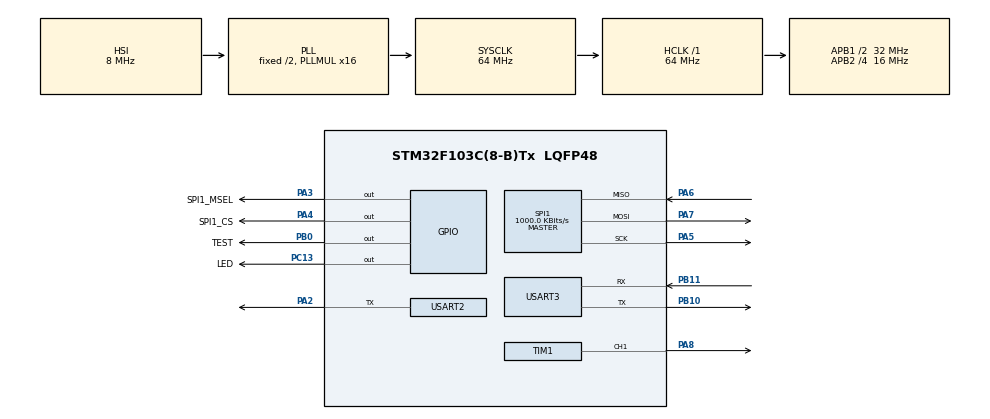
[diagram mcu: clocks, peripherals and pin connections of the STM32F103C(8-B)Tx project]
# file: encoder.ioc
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Mcu.Family=STM32F1
Mcu.Name=STM32F103C(8-B)Tx
Mcu.Package=LQFP48
NVIC.PriorityGroup=NVIC_PRIORITYGROUP_4
NVIC.RCC_IRQn=true\:0\:0\:false\:false\:true\:true\:false\:true
NVIC.TIM1_BRK_IRQn=true\:0\:0\:false\:false\:true\:true\:true\:true
NVIC.TIM1_CC_IRQn=true\:0\:0\:false\:false\:true\:true\:true\:true
NVIC.TIM1_TRG_COM_IRQn=true\:0\:0\:false\:false\:true\:true\:true\:true
NVIC.TIM1_UP_IRQn=true\:0\:0\:false\:false\:true\:true\:true\:true
PA13.Mode=Serial_Wire
PA13.Signal=SYS_JTMS-SWDIO
PA14.Mode=Serial_Wire
PA14.Signal=SYS_JTCK-SWCLK
PA2.Mode=Half_duplex(single_wire_mode)
PA2.Signal=USART2_TX
PA3.GPIO_Label=SPI1_MSEL
PA3.GPIO_PuPd=GPIO_PULLUP
PA3.Signal=GPIO_Output
PA4.GPIO_Label=SPI1_CS
PA4.Signal=GPIO_Output
PA5.Mode=Full_Duplex_Master
PA5.Signal=SPI1_SCK
PA6.Mode=Full_Duplex_Master
PA6.Signal=SPI1_MISO
PA7.Mode=Full_Duplex_Master
PA7.Signal=SPI1_MOSI
PA8.Signal=S_TIM1_CH1
PB0.GPIO_Label=TEST
PB0.Signal=GPIO_Output
PB10.Mode=Asynchronous
PB10.Signal=USART3_TX
PB11.Mode=Asynchronous
PB11.Signal=USART3_RX
PC13-TAMPER-RTC.GPIO_Label=LED
PC13-TAMPER-RTC.Signal=GPIO_Output
PD0-OSC_IN.Mode=HSE-External-Oscillator
PD0-OSC_IN.Signal=RCC_OSC_IN
PD1-OSC_OUT.Mode=HSE-External-Oscillator
PD1-OSC_OUT.Signal=RCC_OSC_OUT
ProjectManager.HeapSize=0x200
ProjectManager.StackSize=0x400
ProjectManager.TargetToolchain=STM32CubeIDE
RCC.AHBFreq_Value=64000000
RCC.APB1CLKDivider=RCC_HCLK_DIV2
RCC.APB1Freq_Value=32000000
RCC.APB1TimFreq_Value=64000000
RCC.APB2CLKDivider=RCC_HCLK_DIV4
RCC.APB2Freq_Value=16000000
RCC.APB2TimFreq_Value=32000000
RCC.HCLKFreq_Value=64000000
RCC.PLLMUL=RCC_PLL_MUL16
RCC.SYSCLKFreq_VALUE=64000000
RCC.SYSCLKSource=RCC_SYSCLKSOURCE_PLLCLK
RCC.USBFreq_Value=64000000
SH.S_TIM1_CH1.0=TIM1_CH1,PWM Generation1 CH1
SPI1.BaudRatePrescaler=SPI_BAUDRATEPRESCALER_16
SPI1.CLKPhase=SPI_PHASE_2EDGE
SPI1.CalculateBaudRate=1000.0 KBits/s
SPI1.Direction=SPI_DIRECTION_2LINES
SPI1.Mode=SPI_MODE_MASTER
SPI1.VirtualType=VM_MASTER
TIM1.Channel-PWM\ Generation1\ CH1=TIM_CHANNEL_1
TIM1.Period=20000-1
TIM1.Prescaler=83
USART2.BaudRate=921600
USART2.Mode=MODE_TX
USART2.VirtualMode=VM_ASYNC
USART3.VirtualMode=VM_ASYNC
board=custom

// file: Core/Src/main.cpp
/* USER CODE BEGIN Header */
/**
  ******************************************************************************
  * @file           : main.c
  * @brief          : Main program body
  ******************************************************************************
  * @attention
  *
  * Copyright (c) 2024 STMicroelectronics.
  * All rights reserved.
  *
  * This software is licensed under terms that can be found in the LICENSE file
  * in the root directory of this software component.
  * If no LICENSE file comes with this software, it is provided AS-IS.
  *
  ******************************************************************************
  */
/* USER CODE END Header */
#include "main.h"

/* USER CODE BEGIN PD */
uint8_t READ =0x40; // read flag in command
uint8_t WRITE=0x00; // write flag in command

/* USER CODE END PD */

SPI_HandleTypeDef hspi1;

TIM_HandleTypeDef htim1;

UART_HandleTypeDef huart2;
UART_HandleTypeDef huart3;

/* USER CODE BEGIN PV */

union Reg8Config {
	struct {
		uint8_t res :4;
		uint8_t dir :1;
		uint8_t hyst :3;
	};
	uint8_t bits;
};

Reg8Config reg8;

union Data16 {
	struct {
		uint8_t high;
		uint8_t low;
	};
	uint8_t bits;
};

union Data24 {
	struct {
		uint8_t high;
		uint8_t mid;
		uint8_t low;
	};
	uint8_t bits;
};

unsigned int error_flag = 0;
unsigned int error_parity = 0; // читання з пристрою пройшло з битою парністю
unsigned int error_reg = 0;

/* USER CODE END PV */

void SystemClock_Config(void);
static void MX_GPIO_Init(void);
static void MX_SPI1_Init(void);
static void MX_TIM1_Init(void);
static void MX_USART2_UART_Init(void);
static void MX_USART3_UART_Init(void);
/* USER CODE BEGIN PFP */

#define PUTCHAR_PROTOTYPE int __io_putchar(int ch)

/* USER CODE END PFP */

/* USER CODE BEGIN 0 */

unsigned int parity(unsigned int n) {
	unsigned int b;
	b = n ^ (n >> 1);
	b = b ^ (b >> 2);
	b = b ^ (b >> 4);
	b = b ^ (b >> 8);
	b = b ^ (b >> 16);
	return b & 1;
}

unsigned long int spi_transfer16(uint8_t reg, uint8_t RW) {
	uint8_t high = 0;
	uint8_t low = 0;
   	uint8_t header = parity(reg|RW)<<7 | RW; //  в контрольну суму повинно входити ВСЕ! окрім біта контрольної суми
    HAL_GPIO_WritePin(SPI1_CS_GPIO_Port, SPI1_CS_Pin, GPIO_PIN_RESET); // 1us
    HAL_SPI_TransmitReceive(&hspi1, &header, &high, 1, HAL_MAX_DELAY);
    HAL_SPI_TransmitReceive(&hspi1, &reg, &low, 1, HAL_MAX_DELAY);
    HAL_GPIO_WritePin(SPI1_CS_GPIO_Port, SPI1_CS_Pin, GPIO_PIN_SET);
    return (high&0xff)<<8 | (low&0xff);
}

// Глючить і косячить :(
unsigned long int spi_transfer16_2(uint8_t reg, uint8_t RW) {
	uint8_t txdata16[2];
	uint8_t rxdata16[2];
    txdata16[0] = parity(reg|RW)<<7 | RW; //  в контрольну суму повинно входити ВСЕ! окрім біта контрольної суми
    HAL_GPIO_WritePin(SPI1_CS_GPIO_Port, SPI1_CS_Pin, GPIO_PIN_RESET); // 1us
    HAL_SPI_TransmitReceive(&hspi1, txdata16, rxdata16, 2, HAL_MAX_DELAY);
    HAL_GPIO_WritePin(SPI1_CS_GPIO_Port, SPI1_CS_Pin, GPIO_PIN_SET);
    return (rxdata16[0]<<8) | rxdata16[1];
}

unsigned int spi_transfer24(uint8_t reg, uint8_t RW) {
	uint8_t high = 0;
	uint8_t mid  = 0;
	uint8_t low  = 0;
	uint8_t header = (parity(reg | RW) << 7) | RW;

	HAL_GPIO_WritePin(SPI1_CS_GPIO_Port, SPI1_CS_Pin, GPIO_PIN_RESET);
//	DWT_Delay_us(1);

	HAL_SPI_TransmitReceive(&hspi1, &header, &high, 1, HAL_MAX_DELAY);
	HAL_SPI_TransmitReceive(&hspi1, &reg, &mid, 1, HAL_MAX_DELAY);
	HAL_SPI_TransmitReceive(&hspi1, &header, &low, 1, HAL_MAX_DELAY);

//	DWT_Delay_us(1);

	HAL_GPIO_WritePin(SPI1_CS_GPIO_Port, SPI1_CS_Pin, GPIO_PIN_SET);
//	DWT_Delay_us(1);

	return (high&0xff)<<16 | (mid&0xff)<<8 | (low&0xff);
}

int setup_spi(){
	//HAL_SPI_Abort(&hspi1);
	HAL_GPIO_WritePin(SPI1_CS_GPIO_Port, SPI1_CS_Pin, GPIO_PIN_SET);
	HAL_GPIO_WritePin(SPI1_MSEL_GPIO_Port, SPI1_MSEL_Pin, GPIO_PIN_SET);

    return 0;
}

unsigned long int  spi_read(uint8_t reg) {
    unsigned int data = 0;
    unsigned long int raw_data = 0;

//    printf("SPI READ %d\n",reg);
//    HAL_HalfDuplex_EnableTransmitter(&huart2);

//    HAL_UART_Transmit(&huart2, (uint8_t *)&reg, 1, 0xFFFF);
//    HAL_UART_Transmit(&huart2, &reg, 1, 10);
    HAL_UART_Transmit(&huart3, &reg, 1, 10);

    spi_transfer16(reg,READ);

    if (reg != 0x3f) { // єдиний регістр, який потребує 24-бітне читання
        raw_data = spi_transfer16(0x3f,READ); // сире читання, тут дані + прапор помилок + парність
        error_flag = raw_data&0x4000?1:0; // зберігаємо біт прапору помилок глобально
        // підраховуємо парність прийнятих даних включно з бітом парності і зберігаємо глобально
        error_parity = parity(raw_data); // зберігаємо біт прапору помилок глобально
        data = raw_data&0x3fff;

      } else {

        // відповідь 24-бітна
        raw_data = spi_transfer24(0x3f,READ); // сире читання, тут дані + прапор помилок + парність
        error_flag = raw_data&0x400000?1:0; // відокремлюємо біт прапору помилок
        error_parity = parity(raw_data);
        data = (raw_data&0x3fffff)>>4; // обрізаємо верхні 2 біти і зміщуємо на 4 біта вниз, отримуємо 24-2-4=18 біт розрядності
      }

      if (error_parity != 0) {      }
      if (error_flag != 0) {      }

	return data;
}

unsigned long int spi_write(uint8_t reg, uint8_t data) {
	//setup_spi();
    unsigned long int raw_data = 0;

	spi_transfer16(0x10, WRITE); // 80 10
	spi_transfer16(0xAB, WRITE); // 80 ab
	spi_transfer16(reg, WRITE); // 80/00 <reg>
	raw_data = spi_transfer16(data, WRITE); 	 // це дані для запису  80/00 <data>
	spi_transfer16(0x10, WRITE); // LOCK write 80 10
	spi_transfer16(0x00, WRITE); // 00 00
	error_parity = parity(raw_data); // рахуємо parity разом з отриманим бітом парності, воно ПОВ�?ННО дорівнювати нулю, інакше це і є збій контроля парності
	return raw_data & 0x3fff;
}

uint8_t write_resolution(uint8_t data) {
	reg8.bits = spi_read(0x08);
	if (data > 18 || data < 10)
		return(1);

	reg8.res = 18 - data; // значення роздільності наведено до бітової комбінація 0000..1000
	spi_write(0x08, reg8.bits);
	if (spi_read(0x08) != reg8.bits)
		return(0); // ERROR!     while (!write_resolution(r)) { delay_ms(1); }
    return(1); // OK
}

int esc_neutral() {

	//1.5 ms

	HAL_TIM_PWM_Stop(&htim1, TIM_CHANNEL_1);
	HAL_TIM_Base_Stop_IT(&htim1);

	htim1.Instance->PSC = 83;
	htim1.Instance->ARR = 1500;
	htim1.Instance->CCR1 = 750;

	HAL_TIM_PWM_Start(&htim1, TIM_CHANNEL_1);
	HAL_TIM_Base_Start_IT(&htim1);

	return 0;
}

int esc_forward(int speed) {

	HAL_TIM_PWM_Stop(&htim1, TIM_CHANNEL_1);
	HAL_TIM_Base_Stop_IT(&htim1);

	htim1.Instance->PSC = 83;
	htim1.Instance->ARR = speed;
	htim1.Instance->CCR1 = speed / 2;

	HAL_TIM_PWM_Start(&htim1, TIM_CHANNEL_1);
	HAL_TIM_Base_Start_IT(&htim1);

	return 0;
}

int esc_backward(int speed) {

	HAL_TIM_PWM_Stop(&htim1, TIM_CHANNEL_1);
	HAL_TIM_Base_Stop_IT(&htim1);

	htim1.Instance->PSC = 83;
	htim1.Instance->ARR = speed;
	htim1.Instance->CCR1 = speed / 2;

	HAL_TIM_PWM_Start(&htim1, TIM_CHANNEL_1);
	HAL_TIM_Base_Start_IT(&htim1);

	return 0;
}

unsigned int read_resolution() {
	reg8.bits = spi_read(8);
	return 18 - reg8.res; // бітова комбінація 0000..1000 наведена до значення роздільності
}

unsigned int set_zero() {
	unsigned int data = 0;
	spi_write(0x12, 0x00); // НЕДОКУМЕНТОВАНА фіча! Треба спочатку занулити регістр, а потім щось писати!
	// про всякий випадок
	HAL_Delay(50);
	uint8_t cde_prev = (spi_read(0x0c) & 0xff) << 10
			| (spi_read(0x0d) & 0xff) << 2 | (spi_read(0x0e) & 0xc0) >> 6;
	spi_write(0x12, 0x08);
	HAL_Delay(50); // Memory busy bit[8] address 0x22 will flag high for 40ms.
	data = spi_read(0x22);
	data = (data >> 2) & 0x03;
	uint8_t cde_new = (spi_read(0x0c) & 0xff) << 10
			| (spi_read(0x0d) & 0xff) << 2 | (spi_read(0x0e) & 0xc0) >> 6;
	if (data == 2) {
		if (cde_prev != cde_new) { // Порівнюємо значення регістру Zero Reset перед та після виконанням запису до регістру 0x12, якщо не змінився - то failed
			//  Serial.printf("Set zero is SUCCESSFULL\n");
			return 0; // OK
		} else {
			//  Serial.printf("Register 0x22 returns OK, but set zero is FAILED\n");
			return 2;
		}
	} else if (data == 3) {
		// Serial.printf("Set zero is FAILED\n");
		return 3;
	} else {
		//  Serial.printf("Set zero is STRANGE: %d\n",data);
		return 4;
	}
	return 1; // Not OK
}

/* USER CODE END 0 */

int main(void)
{

  /* USER CODE BEGIN 1 */
	DWT_Delay_Init();
  /* USER CODE END 1 */

  /* MCU Configuration--------------------------------------------------------*/

  /* Reset of all peripherals, Initializes the Flash interface and the Systick. */
    HAL_Init();

  /* Configure the system clock */
    SystemClock_Config();

  /* USER CODE BEGIN SysInit */
    setup_spi(); //спочатку піни потім ініціалізація сука
  /* USER CODE END SysInit */

  /* Initialize all configured peripherals */
    MX_GPIO_Init();
    MX_SPI1_Init();
    MX_TIM1_Init();
    MX_USART2_UART_Init();
    MX_USART3_UART_Init();
  /* USER CODE BEGIN 2 */

	HAL_GPIO_WritePin(SPI1_CS_GPIO_Port, SPI1_CS_Pin, GPIO_PIN_SET);
	HAL_GPIO_WritePin(SPI1_MSEL_GPIO_Port, SPI1_MSEL_Pin, GPIO_PIN_SET);

	//	write_resolution(18);
//	dataResAs=read_resolution();
//	HAL_Delay(1000);

//	  esc_neutral();
//	  DWT_Delay_ms(1000);
//
//	  esc_forward(1000);
//	  DWT_Delay_ms(500);
//
//	  esc_backward(2000);
//	  DWT_Delay_ms(500);

	float angle[9];
//	for (int i = 0; i < 20; i++) arr[i] = 0;
	// unsigned int dataResAs=0;
	//   set_zero();
  /* USER CODE END 2 */

  /* Infinite loop */
  /* USER CODE BEGIN WHILE */
	while (1) {

//		unsigned int res = read_resolution();
//        res = res+0;
/*	for(uint8_t r=11; r<=18; r++){
		write_resolution(r);
		DWT_Delay_us(100);
		unsigned long int dataResAs=read_resolution();
		DWT_Delay_us(200);
	}
*/
		uint8_t rr[9];
		for (int i = 0; i <= 8; i++) { // 0..8 => 10..18 bits
			write_resolution(i+10);
//			DWT_Delay_us(100);
			rr[i] = read_resolution();
//			arr[i] = rr;
			angle[i] = spi_read(0x3f)*360.0/262144.0;
			DWT_Delay_us(100);
		}
/*
		for (int i = 1; i < 10; i++) arr[i-1] = arr[i];
		arr[9] = spi_read(0x3f); //* 			360.0 / 262144.0
		for (int i = 0; i < 10; i++) {
//		HAL_Delay(1);
			arr[i] = spi_read(0x3f); //* 			360.0 / 262144.0
			HAL_Delay(10);
//			spi_read(0x15); //* 			360.0 / 262144.0
		}
*/
		HAL_Delay(200);
    /* USER CODE END WHILE */

    /* USER CODE BEGIN 3 */
    }
	DWT_Delay_ms(1000);
  /* USER CODE END 3 */
}

void SystemClock_Config(void)
{
  RCC_OscInitTypeDef RCC_OscInitStruct = {0};
  RCC_ClkInitTypeDef RCC_ClkInitStruct = {0};

  /** Initializes the RCC Oscillators according to the specified parameters
  * in the RCC_OscInitTypeDef structure.
  */
  RCC_OscInitStruct.OscillatorType = RCC_OSCILLATORTYPE_HSI;
  RCC_OscInitStruct.HSIState = RCC_HSI_ON;
  RCC_OscInitStruct.HSICalibrationValue = RCC_HSICALIBRATION_DEFAULT;
  RCC_OscInitStruct.PLL.PLLState = RCC_PLL_ON;
  RCC_OscInitStruct.PLL.PLLSource = RCC_PLLSOURCE_HSI_DIV2;
  RCC_OscInitStruct.PLL.PLLMUL = RCC_PLL_MUL16;
  if (HAL_RCC_OscConfig(&RCC_OscInitStruct) != HAL_OK)
  {
    Error_Handler();
  }

  /** Initializes the CPU, AHB and APB buses clocks
  */
  RCC_ClkInitStruct.ClockType = RCC_CLOCKTYPE_HCLK|RCC_CLOCKTYPE_SYSCLK
                              |RCC_CLOCKTYPE_PCLK1|RCC_CLOCKTYPE_PCLK2;
  RCC_ClkInitStruct.SYSCLKSource = RCC_SYSCLKSOURCE_PLLCLK;
  RCC_ClkInitStruct.AHBCLKDivider = RCC_SYSCLK_DIV1;
  RCC_ClkInitStruct.APB1CLKDivider = RCC_HCLK_DIV2;
  RCC_ClkInitStruct.APB2CLKDivider = RCC_HCLK_DIV4;

  if (HAL_RCC_ClockConfig(&RCC_ClkInitStruct, FLASH_LATENCY_2) != HAL_OK)
  {
    Error_Handler();
  }
}

static void MX_SPI1_Init(void)
{

  /* SPI1 parameter configuration*/
  hspi1.Instance = SPI1;
  hspi1.Init.Mode = SPI_MODE_MASTER;
  hspi1.Init.Direction = SPI_DIRECTION_2LINES;
  hspi1.Init.DataSize = SPI_DATASIZE_8BIT;
  hspi1.Init.CLKPolarity = SPI_POLARITY_LOW;
  hspi1.Init.CLKPhase = SPI_PHASE_2EDGE;
  hspi1.Init.NSS = SPI_NSS_SOFT;
  hspi1.Init.BaudRatePrescaler = SPI_BAUDRATEPRESCALER_16;
  hspi1.Init.FirstBit = SPI_FIRSTBIT_MSB;
  hspi1.Init.TIMode = SPI_TIMODE_DISABLE;
  hspi1.Init.CRCCalculation = SPI_CRCCALCULATION_DISABLE;
  hspi1.Init.CRCPolynomial = 10;
  if (HAL_SPI_Init(&hspi1) != HAL_OK)
  {
    Error_Handler();
  }

}

static void MX_TIM1_Init(void)
{

  TIM_MasterConfigTypeDef sMasterConfig = {0};
  TIM_OC_InitTypeDef sConfigOC = {0};
  TIM_BreakDeadTimeConfigTypeDef sBreakDeadTimeConfig = {0};

  htim1.Instance = TIM1;
  htim1.Init.Prescaler = 83;
  htim1.Init.CounterMode = TIM_COUNTERMODE_UP;
  htim1.Init.Period = 20000-1;
  htim1.Init.ClockDivision = TIM_CLOCKDIVISION_DIV1;
  htim1.Init.RepetitionCounter = 0;
  htim1.Init.AutoReloadPreload = TIM_AUTORELOAD_PRELOAD_DISABLE;
  if (HAL_TIM_PWM_Init(&htim1) != HAL_OK)
  {
    Error_Handler();
  }
  sMasterConfig.MasterOutputTrigger = TIM_TRGO_RESET;
  sMasterConfig.MasterSlaveMode = TIM_MASTERSLAVEMODE_DISABLE;
  if (HAL_TIMEx_MasterConfigSynchronization(&htim1, &sMasterConfig) != HAL_OK)
  {
    Error_Handler();
  }
  sConfigOC.OCMode = TIM_OCMODE_PWM1;
  sConfigOC.Pulse = 0;
  sConfigOC.OCPolarity = TIM_OCPOLARITY_HIGH;
  sConfigOC.OCNPolarity = TIM_OCNPOLARITY_HIGH;
  sConfigOC.OCFastMode = TIM_OCFAST_DISABLE;
  sConfigOC.OCIdleState = TIM_OCIDLESTATE_RESET;
  sConfigOC.OCNIdleState = TIM_OCNIDLESTATE_RESET;
  if (HAL_TIM_PWM_ConfigChannel(&htim1, &sConfigOC, TIM_CHANNEL_1) != HAL_OK)
  {
    Error_Handler();
  }
  sBreakDeadTimeConfig.OffStateRunMode = TIM_OSSR_DISABLE;
  sBreakDeadTimeConfig.OffStateIDLEMode = TIM_OSSI_DISABLE;
  sBreakDeadTimeConfig.LockLevel = TIM_LOCKLEVEL_OFF;
  sBreakDeadTimeConfig.DeadTime = 0;
  sBreakDeadTimeConfig.BreakState = TIM_BREAK_DISABLE;
  sBreakDeadTimeConfig.BreakPolarity = TIM_BREAKPOLARITY_HIGH;
  sBreakDeadTimeConfig.AutomaticOutput = TIM_AUTOMATICOUTPUT_DISABLE;
  if (HAL_TIMEx_ConfigBreakDeadTime(&htim1, &sBreakDeadTimeConfig) != HAL_OK)
  {
    Error_Handler();
  }
  HAL_TIM_MspPostInit(&htim1);

}

static void MX_USART2_UART_Init(void)
{

  huart2.Instance = USART2;
  huart2.Init.BaudRate = 921600;
  huart2.Init.WordLength = UART_WORDLENGTH_8B;
  huart2.Init.StopBits = UART_STOPBITS_1;
  huart2.Init.Parity = UART_PARITY_NONE;
  huart2.Init.Mode = UART_MODE_TX;
  huart2.Init.HwFlowCtl = UART_HWCONTROL_NONE;
  huart2.Init.OverSampling = UART_OVERSAMPLING_16;
  if (HAL_HalfDuplex_Init(&huart2) != HAL_OK)
  {
    Error_Handler();
  }
  /* USER CODE BEGIN USART2_Init 2 */
  HAL_HalfDuplex_EnableTransmitter(&huart2);
  /* USER CODE END USART2_Init 2 */

}

static void MX_USART3_UART_Init(void)
{

  huart3.Instance = USART3;
  huart3.Init.BaudRate = 115200;
  huart3.Init.WordLength = UART_WORDLENGTH_8B;
  huart3.Init.StopBits = UART_STOPBITS_1;
  huart3.Init.Parity = UART_PARITY_NONE;
  huart3.Init.Mode = UART_MODE_TX_RX;
  huart3.Init.HwFlowCtl = UART_HWCONTROL_NONE;
  huart3.Init.OverSampling = UART_OVERSAMPLING_16;
  if (HAL_UART_Init(&huart3) != HAL_OK)
  {
    Error_Handler();
  }

}

static void MX_GPIO_Init(void)
{
  GPIO_InitTypeDef GPIO_InitStruct = {0};

  /* GPIO Ports Clock Enable */
  __HAL_RCC_GPIOC_CLK_ENABLE();
  __HAL_RCC_GPIOD_CLK_ENABLE();
  __HAL_RCC_GPIOA_CLK_ENABLE();
  __HAL_RCC_GPIOB_CLK_ENABLE();

  /*Configure GPIO pin Output Level */
  HAL_GPIO_WritePin(LED_GPIO_Port, LED_Pin, GPIO_PIN_RESET);

  /*Configure GPIO pin Output Level */
  HAL_GPIO_WritePin(GPIOA, SPI1_MSEL_Pin|SPI1_CS_Pin, GPIO_PIN_RESET);

  /*Configure GPIO pin Output Level */
  HAL_GPIO_WritePin(TEST_GPIO_Port, TEST_Pin, GPIO_PIN_RESET);

  /*Configure GPIO pin : LED_Pin */
  GPIO_InitStruct.Pin = LED_Pin;
  GPIO_InitStruct.Mode = GPIO_MODE_OUTPUT_PP;
  GPIO_InitStruct.Pull = GPIO_NOPULL;
  GPIO_InitStruct.Speed = GPIO_SPEED_FREQ_LOW;
  HAL_GPIO_Init(LED_GPIO_Port, &GPIO_InitStruct);

  /*Configure GPIO pin : SPI1_MSEL_Pin */
  GPIO_InitStruct.Pin = SPI1_MSEL_Pin;
  GPIO_InitStruct.Mode = GPIO_MODE_OUTPUT_PP;
  GPIO_InitStruct.Pull = GPIO_PULLUP;
  GPIO_InitStruct.Speed = GPIO_SPEED_FREQ_LOW;
  HAL_GPIO_Init(SPI1_MSEL_GPIO_Port, &GPIO_InitStruct);

  /*Configure GPIO pin : SPI1_CS_Pin */
  GPIO_InitStruct.Pin = SPI1_CS_Pin;
  GPIO_InitStruct.Mode = GPIO_MODE_OUTPUT_PP;
  GPIO_InitStruct.Pull = GPIO_NOPULL;
  GPIO_InitStruct.Speed = GPIO_SPEED_FREQ_LOW;
  HAL_GPIO_Init(SPI1_CS_GPIO_Port, &GPIO_InitStruct);

  /*Configure GPIO pin : TEST_Pin */
  GPIO_InitStruct.Pin = TEST_Pin;
  GPIO_InitStruct.Mode = GPIO_MODE_OUTPUT_PP;
  GPIO_InitStruct.Pull = GPIO_NOPULL;
  GPIO_InitStruct.Speed = GPIO_SPEED_FREQ_LOW;
  HAL_GPIO_Init(TEST_GPIO_Port, &GPIO_InitStruct);

}

/* USER CODE BEGIN 4 */

/**
  * @brief  Retargets the C library printf function to the USART.
  *   None
  * @retval None
  */
PUTCHAR_PROTOTYPE
{
  /* Place your implementation of fputc here */
  /* e.g. write a character to the USART1 and Loop until the end of transmission */
  HAL_UART_Transmit(&huart2, (uint8_t *)&ch, 1, 0xFFFF);

  return ch;
}

/* USER CODE END 4 */

void Error_Handler(void)
{
  __disable_irq();
  while (1)
  {
  }
}
